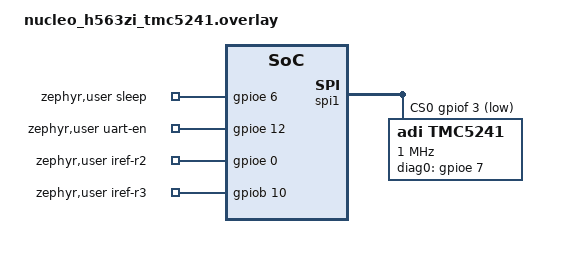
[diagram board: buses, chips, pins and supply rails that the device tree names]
/*
 * SPDX-FileCopyrightText: Copyright (c) 2026
 * SPDX-License-Identifier: Apache-2.0
 *
 * TMC5241-EVKIT on the Nucleo-H563ZI through the "Sternbruecke Nucleo V0.1"
 * adapter, using the same connector, shunts and Nucleo pins as the TMC2241
 * overlay (nucleo_h563zi.overlay, see its header for the pin trace), except
 * for the chip-select. The Eval connector has two SPI buses that share the
 * Nucleo's SPI clock and data pins (D13, D11, D12) and differ only in the
 * chip-select: the TMC2241-EVAL uses SPI2_nCS0 (pin 24, D7), the TMC5241-EVKIT
 * answers on SPI1_nCS (pin 30 -> Nucleo D8 -> PF3). Found on the bench by
 * trying every chip-select: only this one returns a valid IOIN (revision
 * 0x41, external clock and reference resistor detected). D5, D6 and D7 are
 * silent. The other TMC5241 signals (SLEEP, UART_EN, DRV_ENN, DIAG0, CLK)
 * use the same pins as the TMC2241 and were confirmed by register readback.
 *
 * Use it in place of the default overlay:
 *   west build -b nucleo_h563zi samples/drivers/stepper/generic -- \
 *       -DDTC_OVERLAY_FILE=boards/nucleo_h563zi_tmc5241.overlay
 *
 * The TMC5241 moves itself with its ramp generator, so there is no
 * STEP/DIR motion controller here. The ramp values are deliberately slow
 * for a first bring-up: with fCLK = 16 MHz, v[Hz] = v * fCLK / 2^24, so
 * vmax = 100000 is about 95k microsteps/s, or 1.9 rev/s at 256
 * microsteps/step and 200 full steps/rev. StallGuard is off (tcoolthrs and
 * thigh are 0): this sample never configures the chip's stall stop, so use
 * samples/drivers/stepper/tmc5241, whose overlay has the tuned values, to test
 * stall detection.
 */

/ {
	aliases {
		stepper-driver = &tmc5241_stepper_driver;
		stepper-ctrl = &tmc5241_motion_controller;
	};

	/* Driven once at boot by main.c, same pins as the TMC2241 overlay */
	zephyr,user {
		/* must stay high - low/floating = chip sleep */
		sleep-gpios = <&gpioe 6 GPIO_ACTIVE_HIGH>;
		uart-en-gpios = <&gpioe 12 GPIO_ACTIVE_HIGH>; /* low = SPI mode */
		/* both low = lowest current range on the TMC2241-EVAL */
		iref-r2-gpios = <&gpioe 0 GPIO_ACTIVE_HIGH>;
		iref-r3-gpios = <&gpiob 10 GPIO_ACTIVE_HIGH>;
	};
};

&spi1 {
	cs-gpios = <&gpiof 3 GPIO_ACTIVE_LOW>; /* Eval pin 30 SPI1_nCS = D8, overrides D10/PD14 */

	tmc5241: tmc5241@0 {
		compatible = "adi,tmc5241";
		reg = <0>;
		spi-max-frequency = <DT_FREQ_M(1)>;

		/* Sternbruecke Y201 XTAL OSC (IOIN.EXT_CLK should read 1) */
		clock-frequency = <16000000>;
		diag0-gpios = <&gpioe 7 GPIO_ACTIVE_HIGH>;
		en-pwm-mode;

		tmc5241_stepper_driver: stepper-driver {
			compatible = "adi,tmc5241-stepper-driver";
			en-gpios = <&gpioa 3 GPIO_ACTIVE_LOW>; /* DRV_ENN active-low */
			micro-step-res = <256>;
			stallguard2-threshold = <0>;
		};

		tmc5241_motion_controller: stepper-ctrl {
			compatible = "adi,tmc5241-stepper-ctrl";
			vstart = <100>;
			vstop = <200>;
			a1 = <3000>;
			v1 = <50000>;
			d1 = <3000>;
			vmax = <100000>;
			amax = <3000>;
			dmax = <3000>;
			tzerowait = <100>;
			thigh = <0>;
			tcoolthrs = <0>;
			/* IRUN 10 of 31 is about 0.23 A RMS at the lowest range */
			ihold = <1>;
			irun = <10>;
			iholddelay = <1>;
		};
	};
};
